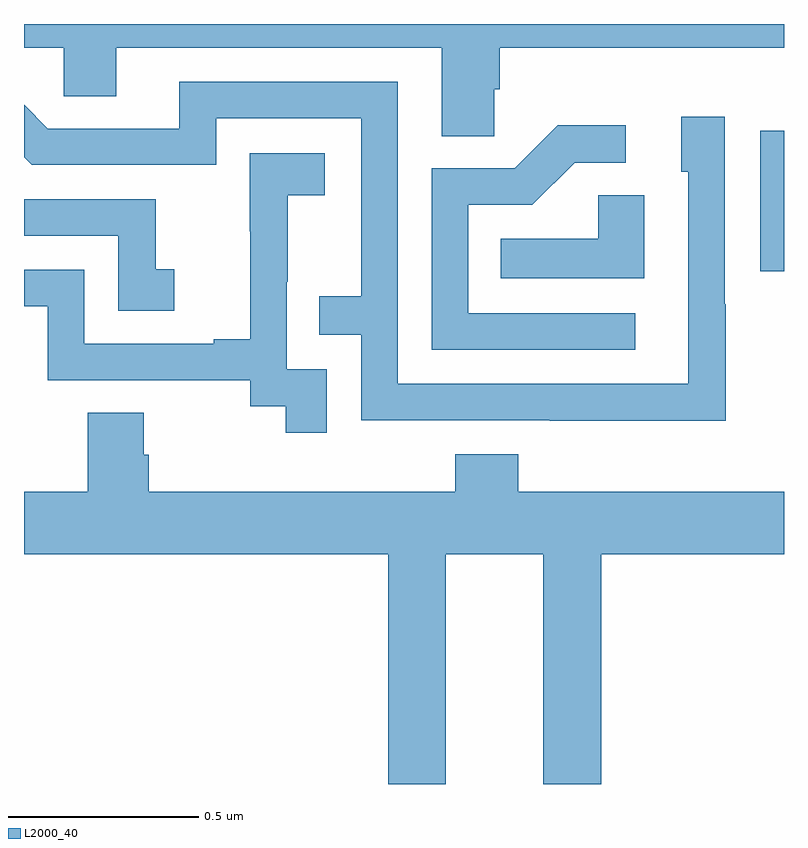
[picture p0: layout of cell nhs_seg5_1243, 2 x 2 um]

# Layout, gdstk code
import gdstk
lib = gdstk.Library(unit=1e-6, precision=1e-09)
def R(c, l, rs):  # rectangles x0, y0, x1, y1
    for r in rs: c.add(gdstk.rectangle(r[:2], r[2:], *l))
def P(c, l, *ps):  # polygons
    for p in ps: c.add(gdstk.Polygon(p, *l))
L2000_40 = (2000, 40)

nhs_seg5_1243 = lib.new_cell('nhs_seg5_1243')
R(nhs_seg5_1243, L2000_40, [(128.937,880.149,129,880.518)])
P(nhs_seg5_1243, L2000_40, [(128.238,880.627),(128.252,880.627),(128.252,880.736),(129,880.736),(129,880.799),(127,880.799),(127,880.736),(127.104,880.736),(127.104,880.609),(127.243,880.609),(127.243,880.736),(128.099,880.736),(128.099,880.504),(128.238,880.504)],
  [(128.847,880.061),(128.844,880.061),(128.844,880.555),(128.729,880.555),(128.729,880.41),(128.748,880.41),(128.748,879.852),(127.983,879.852),(127.983,880.647),(127.409,880.647),(127.409,880.524),(127.062,880.524),(127,880.586),(127,880.448),(127.02,880.428),(127.506,880.428),(127.506,880.551),(127.887,880.551),(127.887,880.082),(127.777,880.082),(127.777,879.981),(127.887,879.981),(127.887,879.756),(128.383,879.756),(128.383,879.755),(128.847,879.755)],
  [(128.608,880.038),(128.169,880.038),(128.169,880.323),(128.338,880.323),(128.449,880.434),(128.584,880.434),(128.584,880.532),(128.405,880.532),(128.292,880.419),(128.073,880.419),(128.073,879.942),(128.608,879.942)],
  [(127.797,879.891),(127.692,879.891),(127.692,880.121),(127.694,880.121),(127.694,880.349),(127.792,880.349),(127.792,880.459),(127.594,880.459),(127.594,880.253),(127.595,880.253),(127.595,879.97),(127.499,879.97),(127.499,879.957),(127.158,879.957),(127.158,880.152),(127,880.152),(127,880.056),(127.062,880.056),(127.062,879.861),(127.596,879.861),(127.596,879.793),(127.689,879.793),(127.689,879.723),(127.797,879.723)],
  [(128.632,880.349),(128.511,880.349),(128.511,880.234),(128.254,880.234),(128.254,880.13),(128.632,880.13)],
  [(127.396,880.153),(127.347,880.153),(127.347,880.338),(127,880.338),(127,880.242),(127.248,880.242),(127.248,880.044),(127.396,880.044)],
  [(128.11,879.404),(128.366,879.404),(128.366,878.799),(128.519,878.799),(128.519,879.404),(129,879.404),(129,879.568),(128.3,879.568),(128.3,879.667),(128.135,879.667),(128.135,879.568),(127.328,879.568),(127.328,879.666),(127.315,879.666),(127.315,879.776),(127.168,879.776),(127.168,879.568),(127,879.568),(127,879.404),(127.958,879.404),(127.958,878.799),(128.11,878.799)])

lib.write_gds('nhs_seg5_1243.gds')
